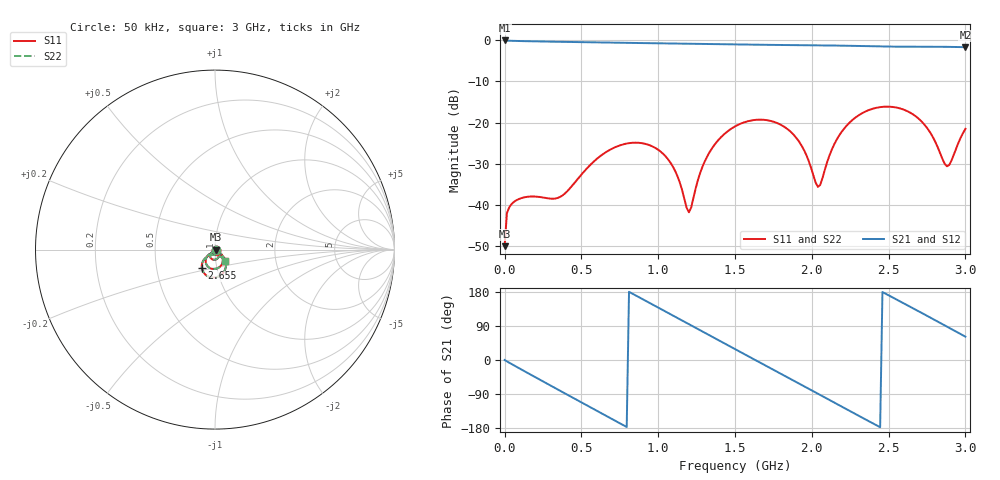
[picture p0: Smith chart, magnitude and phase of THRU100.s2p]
! THRU100: the THRU50 line at 100 mm, for length-difference analysis
! Predicted from examples/coupon/si-coupon.tsx by scripts/predict-coupon.tsx (routed 2.5D ladder, 538 series cells, ngspice AC).
! SMA pads enter as parallel-plate C; connector bodies are not modelled, so compare through the FIX2X 2x-thru.
! Port order: J9, J10.
# HZ S RI R 50
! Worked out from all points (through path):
!   201 points, 50 kHz to 3 GHz, reference 50 ohm
!   highest |S21| = -0.03 dB at 50 kHz (marker M1); lowest = -1.7 dB at 3 GHz (marker M2)
!   group delay of S21, straight-line fit = 608 ps
!   lowest |S11| = -50.0 dB at 50 kHz (marker M3), VSWR 1.01, Z = 50.3 + j0.00878 ohm
!   |S11| at or under -10 dB: start of sweep to end of sweep
!   |S22| runs from -50.0 to -16.1 dB; largest |S21 - S12| = 0
!   S11 on the Smith chart (normalised r, x): 50 kHz: 1.01, +0.00; 2.655 GHz: 0.85, -0.18; 3 GHz: 1.11, -0.14
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50000  0.00315 8.73e-05  0.9968 -0.0003  0.9968 -0.0003  0.00315 8.73e-05
1.504975e7  0.0077 0.00192  0.9893 -0.0635  0.9893 -0.0635  0.0077 0.00192
6.0049e7  0.0108 -0.000983  0.9556 -0.2379  0.9556 -0.2379  0.0108 -0.000983
3.00045e8  0.0065 -0.01  0.367 -0.8913  0.367 -0.8913  0.0065 -0.01
5.100415e8  0.0184 -0.0164  -0.3876 -0.8672  -0.3876 -0.8672  0.0184 -0.0164
7.650372e8  0.00837 -0.0533  -0.9202 -0.1586  -0.9202 -0.1586  0.00837 -0.0533
1.005033e9  -0.0273 -0.0371  -0.6753 0.6262  -0.6753 0.6262  -0.0273 -0.0371
1.110032e9  -0.0198 -0.0167  -0.3745 0.836  -0.3745 0.836  -0.0198 -0.0167
1.20003e9  0.0005 -0.00813  -0.0695 0.9091  -0.0695 0.9091  0.0005 -0.00813
1.320028e9  0.0325 -0.0218  0.3388 0.8393  0.3388 0.8393  0.0325 -0.0218
1.500025e9  0.0391 -0.081  0.784 0.4281  0.784 0.4281  0.0391 -0.081
1.650022e9  -0.00624 -0.1084  0.8822 -0.0615  0.8822 -0.0615  -0.00624 -0.1084
1.81502e9  -0.0506 -0.0749  0.6744 -0.5625  0.6744 -0.5625  -0.0506 -0.0749
1.935018e9  -0.0401 -0.0331  0.3553 -0.7997  0.3553 -0.7997  -0.0401 -0.0331
2.010016e9  -0.0143 -0.018  0.1138 -0.8651  0.1138 -0.8651  -0.0143 -0.018
2.055016e9  0.00496 -0.0168  -0.0364 -0.8698  -0.0364 -0.8698  0.00496 -0.0168
2.145014e9  0.0414 -0.0347  -0.3267 -0.8013  -0.3267 -0.8013  0.0414 -0.0347
2.280012e9  0.0605 -0.0963  -0.6708 -0.5298  -0.6708 -0.5298  0.0605 -0.0963
2.505008e9  -0.024 -0.1545  -0.8263 0.1497  -0.8263 0.1497  -0.024 -0.1545
2.655006e9  -0.073 -0.1044  -0.6159 0.5665  -0.6159 0.5665  -0.073 -0.1044
2.880002e9  -0.00335 -0.0293  0.0278 0.8333  0.0278 0.8333  -0.00335 -0.0293
3e9  0.0561 -0.0625  0.3927 0.7268  0.3927 0.7268  0.0561 -0.0625
